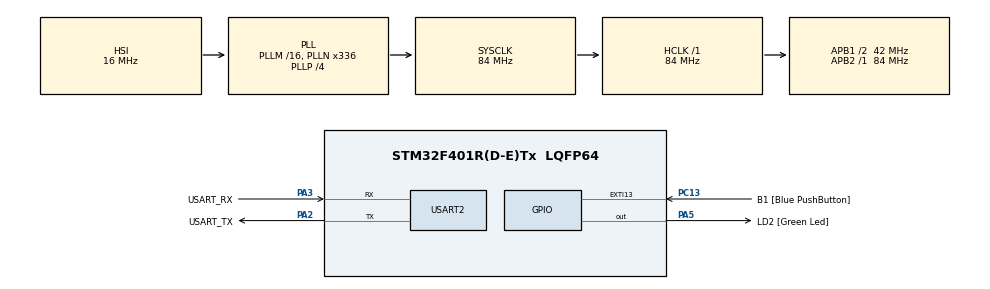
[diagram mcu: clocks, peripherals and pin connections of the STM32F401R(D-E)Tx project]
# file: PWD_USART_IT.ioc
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Mcu.Family=STM32F4
Mcu.Name=STM32F401R(D-E)Tx
Mcu.Package=LQFP64
NVIC.PriorityGroup=NVIC_PRIORITYGROUP_0
PA13.GPIO_Label=TMS
PA13.Mode=Serial_Wire
PA13.Signal=SYS_JTMS-SWDIO
PA14.GPIO_Label=TCK
PA14.Mode=Serial_Wire
PA14.Signal=SYS_JTCK-SWCLK
PA2.GPIO_Label=USART_TX
PA2.GPIO_Mode=GPIO_MODE_AF_PP
PA2.GPIO_PuPd=GPIO_NOPULL
PA2.GPIO_Speed=GPIO_SPEED_FREQ_LOW
PA2.Mode=Asynchronous
PA2.Signal=USART2_TX
PA3.GPIO_Label=USART_RX
PA3.GPIO_Mode=GPIO_MODE_AF_PP
PA3.GPIO_PuPd=GPIO_NOPULL
PA3.GPIO_Speed=GPIO_SPEED_FREQ_LOW
PA3.Mode=Asynchronous
PA3.Signal=USART2_RX
PA5.GPIO_Label=LD2 [Green Led]
PA5.GPIO_Mode=GPIO_MODE_OUTPUT_PP
PA5.GPIO_PuPd=GPIO_NOPULL
PA5.GPIO_Speed=GPIO_SPEED_FREQ_LOW
PA5.Signal=GPIO_Output
PB3.GPIO_Label=SWO
PB3.Signal=SYS_JTDO-SWO
PC13-ANTI_TAMP.GPIO_Label=B1 [Blue PushButton]
PC13-ANTI_TAMP.GPIO_ModeDefaultEXTI=GPIO_MODE_IT_FALLING
PC13-ANTI_TAMP.GPIO_PuPd=GPIO_NOPULL
PC13-ANTI_TAMP.Signal=GPXTI13
PC14-OSC32_IN.Mode=LSE-External-Oscillator
PC14-OSC32_IN.Signal=RCC_OSC32_IN
PC15-OSC32_OUT.Mode=LSE-External-Oscillator
PC15-OSC32_OUT.Signal=RCC_OSC32_OUT
PH0\ -\ OSC_IN.Mode=HSE-External-Clock-Source
PH0\ -\ OSC_IN.Signal=RCC_OSC_IN
PH1\ -\ OSC_OUT.Mode=HSE-External-Clock-Source
PH1\ -\ OSC_OUT.Signal=RCC_OSC_OUT
ProjectManager.HeapSize=0x200
ProjectManager.StackSize=0x400
ProjectManager.TargetToolchain=STM32CubeIDE
RCC.48MHZClocksFreq_Value=48000000
RCC.AHBFreq_Value=84000000
RCC.APB1CLKDivider=RCC_HCLK_DIV2
RCC.APB1Freq_Value=42000000
RCC.APB1TimFreq_Value=84000000
RCC.APB2Freq_Value=84000000
RCC.APB2TimFreq_Value=84000000
RCC.CortexFreq_Value=84000000
RCC.HCLKFreq_Value=84000000
RCC.HSE_VALUE=8000000
RCC.HSI_VALUE=16000000
RCC.PLLN=336
RCC.PLLP=RCC_PLLP_DIV4
RCC.PLLQ=7
RCC.SYSCLKFreq_VALUE=84000000
RCC.SYSCLKSource=RCC_SYSCLKSOURCE_PLLCLK
RCC.VCOOutputFreq_Value=336000000
USART2.VirtualMode=VM_ASYNC
board=NUCLEO-F401RE

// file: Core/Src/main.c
/* USER CODE BEGIN Header */
/**
 ******************************************************************************
 * @file           : main.c
 * @brief          : Main program body
 ******************************************************************************
 * @attention
 *
 * Copyright (c) 2025 STMicroelectronics.
 * All rights reserved.
 *
 * This software is licensed under terms that can be found in the LICENSE file
 * in the root directory of this software component.
 * If no LICENSE file comes with this software, it is provided AS-IS.
 *
 ******************************************************************************
 */
/* USER CODE END Header */
#include "main.h"

UART_HandleTypeDef huart2;

void SystemClock_Config(void);
static void MX_GPIO_Init(void);
static void MX_USART2_UART_Init(void);

int main(void)
{
	/* USER CODE BEGIN 1 */
	char Receive_Buffer[10];
	char* temp = Receive_Buffer;
	char  password[ ]= "9876543210";
	uint16_t len = 10;
	uint16_t i = 0;
	uint8_t verify = 0;
	/* USER CODE END 1 */

	/* MCU Configuration--------------------------------------------------------*/

	/* Reset of all peripherals, Initializes the Flash interface and the Systick. */
	HAL_Init();

	/* Configure the system clock */
	SystemClock_Config();

	/* Initialize all configured peripherals */
	MX_GPIO_Init();
	MX_USART2_UART_Init();
	/* USER CODE BEGIN 2 */
	while (len > 0){
		HAL_UART_Receive_IT(&huart1, temp , sizeof(Receive_Buffer));
		temp++;
		len --;
	}

	for (int i=0; i<10; i++){
		if (Receive_Buffer[i] != password[i]){
			verify = 1;
			break;
		}
	}

	if (verify != 0){
		HAL_GPIO_TogglePin(GPIOA, GPIO_PIN_5);
	}
	else
		HAL_GPIO_WritePin(GPIOA, GPIO_PIN_5, GPIO_PIN_RESET);
		HAL_Delay(2000);
	/* USER CODE END 2 */

	/* Infinite loop */
	while (1)
	{

	}
}

void SystemClock_Config(void)
{
	RCC_OscInitTypeDef RCC_OscInitStruct = {0};
	RCC_ClkInitTypeDef RCC_ClkInitStruct = {0};

	/** Configure the main internal regulator output voltage
	 */
	__HAL_RCC_PWR_CLK_ENABLE();
	__HAL_PWR_VOLTAGESCALING_CONFIG(PWR_REGULATOR_VOLTAGE_SCALE2);

	/** Initializes the RCC Oscillators according to the specified parameters
	 * in the RCC_OscInitTypeDef structure.
	 */
	RCC_OscInitStruct.OscillatorType = RCC_OSCILLATORTYPE_HSI;
	RCC_OscInitStruct.HSIState = RCC_HSI_ON;
	RCC_OscInitStruct.HSICalibrationValue = RCC_HSICALIBRATION_DEFAULT;
	RCC_OscInitStruct.PLL.PLLState = RCC_PLL_ON;
	RCC_OscInitStruct.PLL.PLLSource = RCC_PLLSOURCE_HSI;
	RCC_OscInitStruct.PLL.PLLM = 16;
	RCC_OscInitStruct.PLL.PLLN = 336;
	RCC_OscInitStruct.PLL.PLLP = RCC_PLLP_DIV4;
	RCC_OscInitStruct.PLL.PLLQ = 7;
	if (HAL_RCC_OscConfig(&RCC_OscInitStruct) != HAL_OK)
	{
		Error_Handler();
	}

	/** Initializes the CPU, AHB and APB buses clocks
	 */
	RCC_ClkInitStruct.ClockType = RCC_CLOCKTYPE_HCLK|RCC_CLOCKTYPE_SYSCLK
			|RCC_CLOCKTYPE_PCLK1|RCC_CLOCKTYPE_PCLK2;
	RCC_ClkInitStruct.SYSCLKSource = RCC_SYSCLKSOURCE_PLLCLK;
	RCC_ClkInitStruct.AHBCLKDivider = RCC_SYSCLK_DIV1;
	RCC_ClkInitStruct.APB1CLKDivider = RCC_HCLK_DIV2;
	RCC_ClkInitStruct.APB2CLKDivider = RCC_HCLK_DIV1;

	if (HAL_RCC_ClockConfig(&RCC_ClkInitStruct, FLASH_LATENCY_2) != HAL_OK)
	{
		Error_Handler();
	}
}

static void MX_USART2_UART_Init(void)
{

	huart2.Instance = USART2;
	huart2.Init.BaudRate = 115200;
	huart2.Init.WordLength = UART_WORDLENGTH_8B;
	huart2.Init.StopBits = UART_STOPBITS_1;
	huart2.Init.Parity = UART_PARITY_NONE;
	huart2.Init.Mode = UART_MODE_TX_RX;
	huart2.Init.HwFlowCtl = UART_HWCONTROL_NONE;
	huart2.Init.OverSampling = UART_OVERSAMPLING_16;
	if (HAL_UART_Init(&huart2) != HAL_OK)
	{
		Error_Handler();
	}

}

static void MX_GPIO_Init(void)
{
	GPIO_InitTypeDef GPIO_InitStruct = {0};

	/* GPIO Ports Clock Enable */
	__HAL_RCC_GPIOC_CLK_ENABLE();
	__HAL_RCC_GPIOH_CLK_ENABLE();
	__HAL_RCC_GPIOA_CLK_ENABLE();
	__HAL_RCC_GPIOB_CLK_ENABLE();

	/*Configure GPIO pin Output Level */
	HAL_GPIO_WritePin(LD2_GPIO_Port, LD2_Pin, GPIO_PIN_RESET);

	/*Configure GPIO pin : B1_Pin */
	GPIO_InitStruct.Pin = B1_Pin;
	GPIO_InitStruct.Mode = GPIO_MODE_IT_FALLING;
	GPIO_InitStruct.Pull = GPIO_NOPULL;
	HAL_GPIO_Init(B1_GPIO_Port, &GPIO_InitStruct);

	/*Configure GPIO pin : LD2_Pin */
	GPIO_InitStruct.Pin = LD2_Pin;
	GPIO_InitStruct.Mode = GPIO_MODE_OUTPUT_PP;
	GPIO_InitStruct.Pull = GPIO_NOPULL;
	GPIO_InitStruct.Speed = GPIO_SPEED_FREQ_LOW;
	HAL_GPIO_Init(LD2_GPIO_Port, &GPIO_InitStruct);

}

void Error_Handler(void)
{
	__disable_irq();
	while (1)
	{
	}
}
